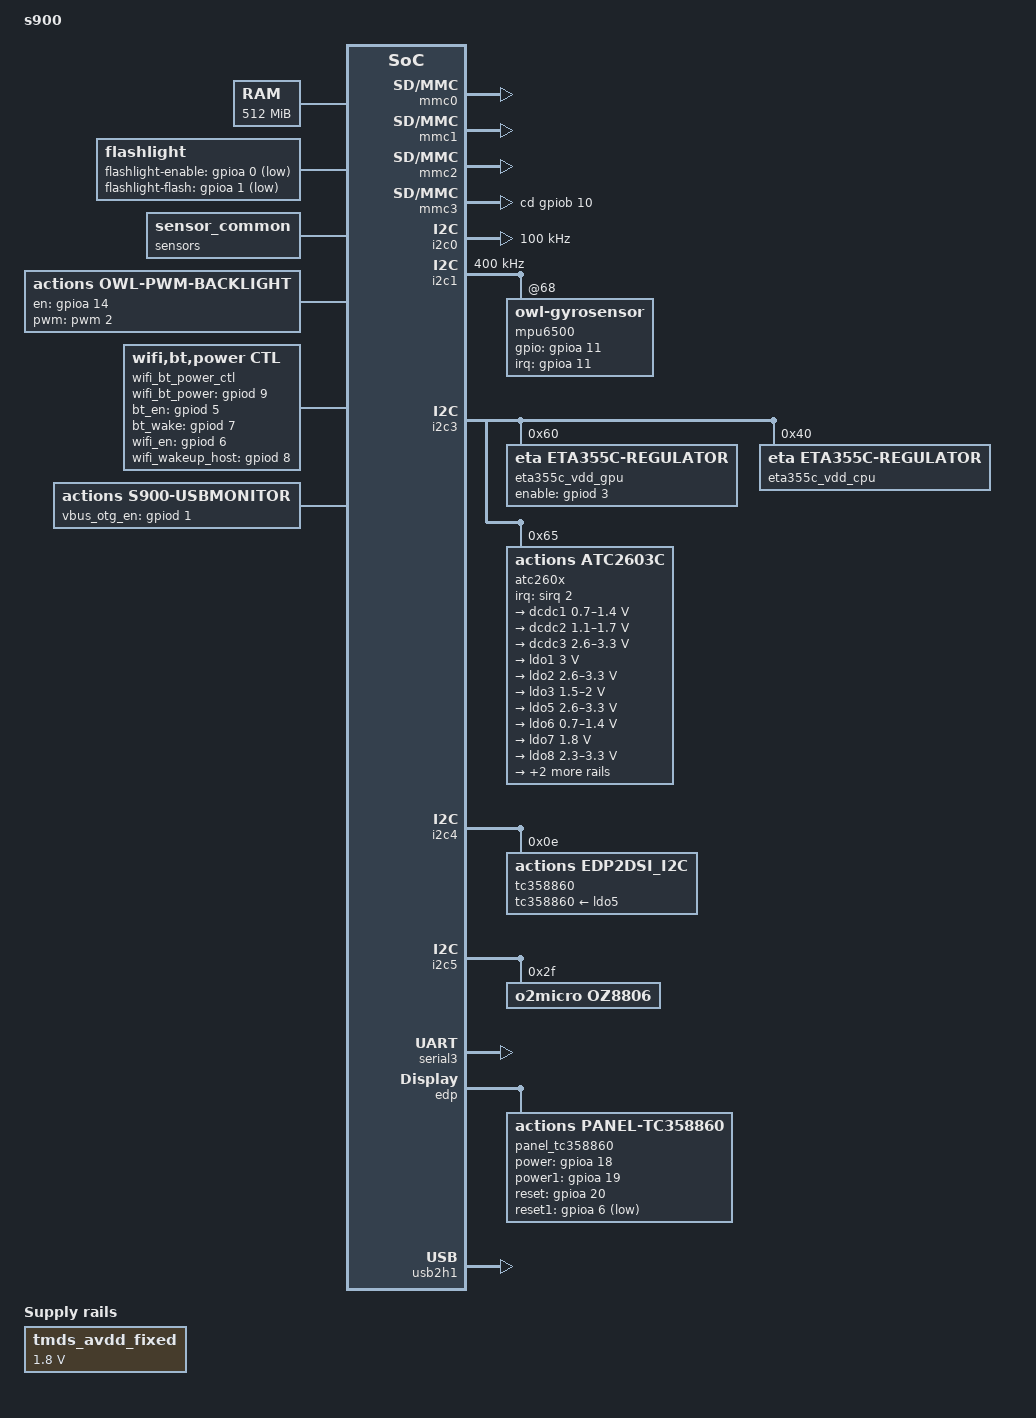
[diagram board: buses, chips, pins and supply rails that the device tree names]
/*
 * Copyright (C) 2014 Actions Semi. Inc
 *
 * This program is free software; you can redistribute it and/or
 * modify it under the terms of the GNU General Public License as
 * published by the Free Software Foundation version 2.
 *
 * This program is distributed "as is" WITHOUT ANY WARRANTY of any
 * kind, whether express or implied; without even the implied warranty
 * of MERCHANTABILITY or FITNESS FOR A PARTICULAR PURPOSE.  See the
 * GNU General Public License for more details.
 */

/dts-v1/;

/* reserve 48MB for logo(fb) */
/memreserve/ 0x19000000 0x03000000;

/* reserve 512MB for ion1(pmem) */
/memreserve/ 0x20000000 0x20000000;

/* reserve 4k for afinfo */
/memreserve/ 0x18FFF000 0x1000;

#include "s900.dtsi"

/ {
	model = "s900";
	compatible = "actions,s900", "actions,s900-evb";

	chosen {
		bootargs="fb_logo_reserve=0x19000000,0x03000000 console=ttyS5,115200 earlyprintk=serial-owl,0xe012a000 no_console_suspend loglevel=7";
	};

	memory@00000000 {
		device_type = "memory";
		reg = <0 0x00000000 0 0x20000000>;
	};

	ion_config {
		compatible = "actions,s900-ion";
		actions,ion_heap_pmem_base = <0x0 0x20000000>;
		actions,ion_heap_pmem_size = <0x0 0x20000000>;
	};

	gpiod: gpiod@e01b0000 {
		pinctrl-names = "default";
		pinctrl-0 = <&pinctrl_gpio_lvds_o>;
	};

	pinctrl@e01b0000 {
		pinctrl_i2c4: i2c4 {
			i2c4_mfp {
				actions,groups = "mfp3_8";
				actions,function = "i2c4";
			};

			i2c4_pull {
				actions,pins = "P_UART4_RX", "P_UART4_TX";
				actions,pull = <2>;
			};
		};
	};

	pwm: pwm@e01b0000 {
		pwm2 {
			id = <2>;
			pinctrl-names = "default";
			pinctrl-0 = <&pwm2_state_default>;
		};
	};

	mmc0: mmc@e0338000 {
		card-type = "emmc";
		status = "okay";
	};

	mmc1: mmc@e033c000 {
		card-type = "emmc";
		status = "okay";
	};

	mmc2: mmc@e0334000 {
		card-type = "wifi";
		wifi-card-voltage = "1.8v";  /* only: "1.8v", "3.1v" */
		status = "okay";
	};

	mmc3: mmc@e0330000 {
		card-type = "memory";  /* only: "memory", "wifi", or "emmc" */
		card-detect-mode = "gpio";  /* only: "sirq", "gpio", or "command" */
		cd-gpios = <&gpiob 10 0>; /*hr280ac GPIOB10 */
		sd_vcc = "ldo0";
		status = "okay";
	};

	i2c0: i2c@e0170000 {
		clock-frequency = <100000>;
		status = "okay";
	};

	i2c1: i2c@e0172000 {
		clock-frequency = <400000>;
		status = "okay";
		
		mpu6500@68 {
			compatible = "owl-gyrosensor";
			interrupt-parent = <&gpioa>;
			interrupts = <11>;
			gpios = <&gpioa 11 0>; /* GPIOA11 */
			i2c_adapter_id = <1>;
			MASTER_inv6500_position = "1";
			SECONDARY_ak8963c_position = "4";
		};	
		
	};

//	i2c2: i2c@e0174000 {
//		status = "okay";
//	};

	i2c3: i2c@e0176000 {
		status = "okay";

		eta355c_vdd_gpu: eta355c-regulator@41 {
			compatible = "eta,eta355c-regulator";
			reg = <0x60>;

//			regulator-name = "eta355c";
			regulator-name = "vdd_gpu";
			regulator-type = "voltage";
			regulator-min-microvolt = <603000>;
			regulator-max-microvolt = <1350000>;
			startup-delay-us = <1000>;	/* us */
			regulator-ramp-delay = <250>;	/* uV/us */
			enable-gpio = <&gpiod 3 0x4>;	/* GPIOD3 */
			enable-active-high;
		};

		eta355c_vdd_cpu: eta355c-regulator@40 {
			compatible = "eta,eta355c-regulator";
			reg = <0x40>;

			regulator-name = "dcdc1";
			regulator-type = "voltage";
			regulator-min-microvolt = <603000>;
			regulator-max-microvolt = <1350000>;
			startup-delay-us = <1000>;	/* us */
			regulator-ramp-delay = <250>;	/* uV/us */
			regulator-always-on;
		};

		/* atc2603c (5307) */
		atc260x: atc2603c@65 {
			compatible = "actions,atc2603c","actions,atc260x";
			reg = <0x65>;
			interrupt-parent = <&sirq>;
			interrupts = <2>;
			interrupt-controller;
			#interrupt-cells = <1>;

			losc_32k_output_enable = <1>;    /* enable/disable output 32.768K clock via AUXIN1 pin */

			pm {
				compatible = "actions,atc2603c-pm";
			};

			onoff {
				compatible = "actions,atc2603c-onoff";
			};

			rtc{
				compatible = "actions,atc2603c-rtc";
			};

			atc260x_gpio{
				compatible = "actions,atc2603c-gpio";
			};

			atc260x-adckeypad{
				#define KEY_HOME				172
				#define KEY_MENU				139
				#define KEY_BACK				158
				#define KEY_VOLUMEDOWN				114
				#define KEY_VOLUMEUP				115
				#define KEY_ENTER			28
				keymapsize = <4>;                   /* number of ADC key */
				filter_dep = <3>;                   /* depth of the moving average filter (length of filter queue) */
				variance = <15>;                    /* filter will not output until the difference between every two ADC samples in the filter queue goes below this value */
				poll_interval =  <20>;              /* sample period, in ms */
				left_adc_val =  <0  60 160 320>;           /* for key code translator, each value defines a lower bound of ADC value of a key */
				right_adc_val = <60 160  320 540>;          /* for key code translator, each value defines a upper bound of ADC value of a key */
				key_val = <KEY_MENU KEY_BACK KEY_ENTER KEY_HOME>; /* for key code translator, each value defines the key_code of a key */
				adc_channel_name = "AUX0";          /* the ADC channel used for sampling, valid names are REMCON AUX0 AUX1 AUX2 (AUX3) */
				compatible = "actions,atc2603c-adckeypad";
				key_check_mode = <1>;              /*  0:  GPIO key;  1:  ADC key   */
			};

			/*the cfg params must be read	in the first installed ko,
			 now snd-soc-atv5302.ko is first installed.
			 1, earphone_detect_level use the third value of earphone_gpios
			 2, commonly, we shouldn't change the value of speaker_gain and earphone_gain*/

			atc260x-audio{
				compatible = "actions,atc2603c-audio";
				status = "okay";
				pinctrl-names = "default";
				pinctrl-0 = <&i2s0_state_default>;
				clocks = <&clock CLK_AUDIO_PLL>, <&clock CLK_HDMI_AUDIO>;
				clock-names = "audio_pll", "hdmia";
				earphone_detect_gpios = <&gpiof 3 0>; /*GPIOF3 0: low active, 1: high active*/
				speaker_en_gpios = <&gpioa 19 1>; /*GPIOA19 0: low active, 1: high active*/
				earphone_output_mode = <0>; /*0: direct mode, 1: undirect mode*/
				mic_num = <1>; /*just suport 1, 2*/
				mic0_gain = < 0x7 0x7 >; /*<Lchannel,Rchannel> [0x0~0xF]*/
				speaker_gain = < 0xaa 0xaa >; /*<Lchannel,Rchannel>[0x00~0xbebe]*/
				earphone_gain = < 0xbe 0xbe >; /*<Lchannel,Rchannel>[0x00~0xbebe]*/
				mic_mode = <2>; /* 1: differential,  2: single end*/
				speaker_volume = < 0x28 0x28 >; /*volume [0x00~0x28]*/
				earphone_volume = < 0x28 0x28 >; /*volume [0x00~0x28]*/
				earphone_detect_method = <0>; /*0:gpio, 1:irq, 2:adc*/
				//adc_plugin_threshold = <850>; /*adc earphone detect plugin threshold value*/
				//adc_level = <0>; /*adc plugin level, 1:high vol when plugin; 0:low vol when plug in*/
			};
			//atc260x-charger{
			////	compatible = "actions,atc2603c-charger";
			//	support_adaptor_type = <2>;/*1: DCIN  2: USB  3:DCIN+USB*/
			//};

			atc260x-hwmon{
				compatible = "actions,atc2603c-hwmon";
			};

			/*
			 * DCDC1       VDD_CORE  --> 2609a dcdc0
			 * DCDC2       VDDR
			 * DCDC3       VCC
			 */
			dcdc1: dcdc1 {
				compatible = "actions,atc2603c-dcdc1","actions,atc2609a-dcdc";
				regulator-name = "dcdc0";
				regulator-min-microvolt = <700000>;
				regulator-max-microvolt = <1400000>;
				regulator-always-on;
			};

			dcdc2: dcdc2 {
				compatible = "actions,atc2603c-dcdc2","actions,atc2609a-dcdc";
				regulator-name = "dcdc2";
				regulator-min-microvolt = <1100000>;
				regulator-max-microvolt = <1700000>;
				regulator-always-on;
			};

			dcdc3: dcdc3 {
				compatible = "actions,atc2603c-dcdc3","actions,atc2609a-dcdc";
				regulator-name = "dcdc3";
				regulator-min-microvolt = <2600000>;
				regulator-max-microvolt = <3300000>;
				regulator-always-on;
			};

			/*
			 * LDO1        AVCC3V1
			 * LDO2        AVCC
			 * LDO3        ATC2609_VDD
			 * LDO4        AVCC_1V8
			 * LDO6        AVDD_1V0
			 * LDO7        SENS_DVDD
			 * LDO8        TP_VCC
			 * LDO9        RTC_VDD     */

			ldo1: ldo1{
				compatible = "actions,atc2603c-ldo1","actions,atc2603c-ldo";
				regulator-name = "ldo1";
				regulator-min-microvolt  = <3000000>;
				regulator-max-microvolt = <3000000>;
				regulator-always-on;

			};

			ldo2: ldo2{
				compatible = "actions,atc2603c-ldo2","actions,atc2603c-ldo";
				regulator-name = "ldo2";
				regulator-min-microvolt  = <2600000>;
				regulator-max-microvolt = <3300000>;
				regulator-always-on;
			};

			ldo3: ldo3{
				compatible = "actions,atc2603c-ldo3","actions,atc2603c-ldo";
				regulator-name = "ldo3";
				regulator-min-microvolt  = <1500000>;
				regulator-max-microvolt = <2000000>;
				regulator-always-on;
			};

			ldo4: ldo4{
				status = "disabled";
			};

			ldo5: ldo5{
				compatible = "actions,atc2603c-ldo5","actions,atc2603c-ldo";
				regulator-name = "ldo5";
				regulator-min-microvolt  = <2600000>;
				regulator-max-microvolt = <3300000>;
				regulator-always-on;
			};

			ldo6: ldo6{
				compatible = "actions,atc2603c-ldo6","actions,atc2603c-ldo";
				regulator-name = "ldo6";
				regulator-min-microvolt  = <700000>;
				regulator-max-microvolt = <1400000>;
				regulator-always-on;
			};

			ldo7: ldo7{
				compatible = "actions,atc2603c-ldo7","actions,atc2603c-ldo";
				regulator-name = "ldo7";
				regulator-min-microvolt  = <1800000>;
				regulator-max-microvolt = <1800000>;
				regulator-always-on;
			};

			ldo8: ldo8{
				compatible = "actions,atc2603c-ldo8","actions,atc2603c-ldo";
				regulator-name = "ldo8";
				regulator-min-microvolt  = <2300000>;
				regulator-max-microvolt = <3300000>;
			};

			ldo9: ldo9{
				status = "disabled";
			};

			ldo10: ldo10{
				status = "disabled";
			};

			ldo11: ldo11{
				compatible = "actions,atc2603c-ldo11","actions,atc2603c-ldo";
				regulator-name = "ldo11";
				regulator-min-microvolt  = <2600000>;
				regulator-max-microvolt = <3300000>;
				regulator-always-on;
			};

			switch1:switch1{
				compatible = "actions,atc2603c-switch1","actions,atc2603c-switch";
				regulator-name = "switch1";
				regulator-min-microvolt  = <3000000>;
				regulator-max-microvolt = <3300000>;
				regulator-always-on;
			};

			switch2:switch2{
				status = "disabled";
			};
		};
	};

	i2c4: i2c@e0178000 {
		pinctrl-names = "default";
		pinctrl-0 = <&pinctrl_i2c4>;
		status = "okay";
//		gslX680@40 {
//			compatible = "gslX680";
//			reg = <0x40>;
//			tp_vcc = "ldo5";
//			reset_gpios = <&gpiob 14 1>;/*GPIOB(14) 0: high, 1: low*/
//			x_pixel = <1536>;
//			y_pixel = <2048>;
//			x_revert_en = <1>;
//			y_revert_en = <0>;
//			xy_swap_en = <0>;
//			rotate_degree = <0>;     /* 0 90 180 270 */
//			interrupt-parent = <&sirq>;
//			interrupts = < 0 0x4 >; /*SIRQ0*/
//			vol_range = <3100000 3110000>;
//		};
		tc358860@60 {
			compatible = "actions,edp2dsi_i2c";
			tc358860-supply = <&ldo5>;
			reg = <0x0e>;
		};


};

	i2c5: i2c@e017a000 {
		pinctrl-names = "default";
		pinctrl-0 = <&pinctrl_i2c5_default>;
		status = "okay";
		//bluewhale-charger@10 {
		//	compatible = "o2micro,oz115";
		//	reg = <0x10>;
		//	cc_set = <2000>;/*mA*/
		//	cv_set = <4250>;/*mV*/
		//	term_cur = <100>;/*mA*/
		//	ac_ilimit = <2000>;/*mA*/
		//	usb_ilimit = <500>;/*mA*/
		//};
		oz8806@2f {
			compatible = "o2micro,oz8806";
			reg = <0x2f>;
			rsense = <10>;
			design_capacity = <7000>;
			cv_vol = <4200>;
			taper_cur = <300>;
			term_vol = <3400>;
			debug = <0>;
		};
	};

	serial3: uart@e0126000 {
		dmas = <&dma DMA_DRQ_UART3_TX>, <&dma DMA_DRQ_UART3_RX>;
		dma-names = "tx", "rx";
		status = "okay";
	};

	flashlight {
		compatible = "flashlight";
		flashlight-enable = <&gpioa 0 1>; /* GPIOA0 */
		flashlight-flash  = <&gpioa 1 1>; /* GPIOA1 */
		status = "okay";
	};

	isp0: isp@e0270000 {
		mirror_flip = <3>;  /* bit-0:rear camera; bit-1:front camera; 0: no flip,no mirror; 1: no flip,horizontal mirror; 2:vertical flip,no mirror; 3: vertical flip,horizontal mirror */

		avdd-src = "gpio";  /* only: "gpio", "regulator" */
		avdd-gpios = <&gpioa 18 1>; /* GPIOA18 */

		board_type = "evb";/* "ces" or "evb"*/
		sensors = "dual"; /* "dual", "front" or "rear" */
		pwdn-rear-gpios = <&gpioa 27 1>; /* GPIOA27 */
		pwdn-front-gpios = <&gpioa 26 1>; /* GPIOA26 */
		reset-gpios = <&gpiob 15 1>; /*GPIOB15*/

		pinctrl-names = "default";
		pinctrl-0 = <&mipi_csi0_state_default>, <&mipi_csi1_state_default>;

//		status = "okay"; /* create platform-device */
		status = "disabled";
	};

	sensors: isp-sensor {
		compatible = "sensor_common";
		i2c_adapter = <&i2c2>; /* 0-3 begin from enabled ones */

		status = "okay";
	};

	framebuffer {
		compatible = "actions,framebuffer";

		ovl_boot {
		        usage = "boot";
		        disp_dev = <&panel_tc358860>;
		};

		ovl_extra {
		        usage = "extra";
		};
	};

	edp: edp@e02e0000 {
		panel_configs = <&config0>;

		/*
		 * edp_configs, used to configure edp controller,
		 * its values should set according to edp panel's spec.
		 * Currently, the configration is for lg-lp097qx1 panel.
		 */
		config0: edp_configs {
			link_rate = <1>;	/* 0, 1.62G; 1, 2.7G; 2, 5.4G */

			lane_count = <4>;
			lane_polarity = <0x10>;	/* bit 0~3 map for data lanes' polarity,
						   bit 4 map for aux lanes' polarity,
						   0 normal, 1 reversed */
			lane_mirror = <0>;	/* lane mirror, 0 lane0~3, 1 lane3~0 */

			mstream_polarity = <0x3>;/* bit map for mstream's polarity,
						   bit1: vsync, bit0 hsync */
			user_sync_polarity = <0xc>;/* bit map for user sync's polarity,
						    * bit3: sync signal polarity,
						    * bit2: enable signal polarity,
						    * bit1: vsync polarity,
						    * bit0: hsync polarity
						    */

			pclk_parent = <0>;	/* 0, ASSIST_PLL, 1, DISPLAY PLL */
			pclk_rate = <250000000>;/* 250MHz, ASSIST_PLL, divider 2 */
		};

		/* sharp-tc358860 edp2dsi panel */
		panel_tc358860: edp_panel {
			compatible = "actions,panel-tc358860";

			/* panel's fixed info */
			width_mm = <68>;
			height_mm = <121>;
			bpp = <24>;

			is_primary = <1>;
			hotplugable = <0>;
			hotplug_always_on = <0>;

			/* operation delay in ms */
			power_on_delay = <10>;
			power_off_delay = <0>;
			enable_delay = <10>;
			disable_delay = <0>;

			power-gpio = <&gpioa 18 0>; /* GPIOA18, active high */
			power1-gpio = <&gpioa 19 0>; /* GPIOA19, active high */

			reset-gpio = <&gpioa 20 0>; /* GPIOA20, active high */
			reset1-gpio = <&gpioa 6 1>; /* GPIOA6, active low */

			videomode-0 = <&mode0>;

			/* 1440x2560p60 */
			mode0: videomode {
				refresh_rate = <60>;

				xres = <1440>;
				yres = <2560>;

				/*
				 * pclk_rate = 200MHz, ASSIS_PLL, divider 2.5
				 * pixel_clock = picoseconds / pclk_rate
				 */
				pixel_clock = <5000>;

				hbp = <80>;
				hfp = <80>;
				hsw = <32>;

				vbp = <6>;
				vfp = <8>;
				vsw = <2>;

				/* 0: FB_VMODE_NONINTERLACED, 1:FB_VMODE_INTERLACED */
				vmode = <0>;
			};
		};
	};
	
//	leds-gpio{
//		compatible = "gpio-leds";
//		charging {
//			gpios = <&gpiob 8 0>;/*GPIOB(8) 0: high, 1: low*/
//			label = "charging_led";
//			default-state = "off";
//			linux,default-trigger = "battery-charging";
//		};
//	};

	backlight {
		compatible = "actions,owl-pwm-backlight";

		/* GPIOA14, active high */
		en-gpios = <&gpioa 14 0>;

		/*1.pwm num; 2. period in ns; */
		/*3.plarity, 0: high active, 1: low active*/
		pwms = <&pwm 2 50000 0>;

		total_steps = <1024>;
		min_brightness = <100>;
		max_brightness = <1000>;
		dft_brightness = <500>;

		delay_bf_pwm = <0>; /*in ms*/
		delay_af_pwm = <200>; /*in ms*/
	};

	bluetooth_state_default:bluetooth_default {
    		sgpio_pull {
        		actions,pins = " P_SGPIO2";
        		actions,pull = <2>;
        	};
  	};

	wifi_bt_power_ctl {
		compatible = "wifi,bt,power,ctl";
		wifi_bt_power_gpios = <&gpiod 9 0>; /*  GPIOd9 */
		bt_en_gpios = <&gpiod 5 0>;/*GPIOd5, high active*/  /*M3305 A17 reset pin*/
		bt_wake_gpio = <&gpiod 7 0>; /* GPIOd7*/
		wifi_en_gpios = <&gpiod 6 0>; /* GPIOd6*/
		wifi_wakeup_host_gpios = <&gpiod 8 0>; /* GPIOD8 */
		pinctrl-names = "default";
    		pinctrl-0 = <&bluetooth_state_default >;
	};

	tmds_avdd_fixed: fixedregulator@0 {
		compatible = "regulator-fixed";
		regulator-name = "1v8";
		regulator-min-microvolt = <1800000>;
		regulator-max-microvolt = <1800000>;
		regulator-always-on;
	};


	monitor {
		compatible = "actions,s900-usbmonitor";
		detect_type = <3>; /* config what to detect, 0:DISABLE ; 1:DEVICE_ONLY; 2:HOST_ONLY; 3: HOST_AND_DEVICE*/
		idpin_type   = <0>; /* 0:use ic's idpin;      1:soft idpin,##no support!##;       2:gpio idpin,use gpio to detect,need to add a "idpin_gpio" configuration */
		vbus_type   = <2>; /* 0:use ic's vbuspin; 1:gpio vbus,##no support!## ;      2:use dc5v to detect vbus level*/

		/*vbus_otg_en_gpio is use to turn on/off otg vbus,it's different from vbus detect gpio;*/
		vbus_otg_en_gpios = <&gpiod 1 0>;  /* GPIOD1,  0: low active; 1: high active */
		status = "okay";
	};

	owl_usb_config {
		compatible = "actions,owl-usb-config";
		usb_serialnumber_config = <1>; /* config serialnumber string format, 0: fixed serial no in ascii format; 1: fixed serial no in unicode format; 2:non-fixed serial no in unicode format*/
		usb_hs_output_strength = <3>; /*defaut:3,range:0~7; 0:min,7:max;usb high speed(2.0)transmitter output strength*/
		status = "okay";
	};

 	usb2h0: usb@e02b0000 {
		vbus_otg_en_gpio = <&gpiod 0 0>;
		port_host_plug_detect = <0>;
		status = "disabled";
	};

	usb2h1: usb@e02c0000 {
		vbus_otg_en_gpio =<&gpiod 2 0>;
		port_host_plug_detect = <1>; /*0:disable 1:enable detect and vbus contrl 2:only detect 3:enable detect and usb0 and usb1 use the same gpio*/
		status = "okay";
	};

	gpu@e0600000 {
		gpu-supply = <&eta355c_vdd_gpu>;

		operating-points = <176000  825000
		                    264000  850000
							352000  875000
							422400  925000
		                    528000 1000000>;
	};
};
